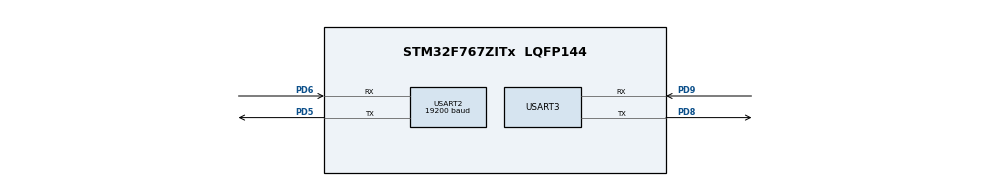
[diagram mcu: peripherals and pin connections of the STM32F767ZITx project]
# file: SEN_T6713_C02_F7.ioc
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Mcu.Family=STM32F7
Mcu.Name=STM32F767ZITx
Mcu.Package=LQFP144
NVIC.PriorityGroup=NVIC_PRIORITYGROUP_4
NVIC.USART2_IRQn=true\:0\:0\:false\:false\:true\:true\:true\:true
PA13.Mode=Serial_Wire
PA13.Signal=SYS_JTMS-SWDIO
PA14.Mode=Serial_Wire
PA14.Signal=SYS_JTCK-SWCLK
PD5.Mode=Asynchronous
PD5.Signal=USART2_TX
PD6.Mode=Asynchronous
PD6.Signal=USART2_RX
PD8.Mode=Asynchronous
PD8.Signal=USART3_TX
PD9.Mode=Asynchronous
PD9.Signal=USART3_RX
ProjectManager.HeapSize=0x200
ProjectManager.StackSize=0x400
ProjectManager.TargetToolchain=STM32CubeIDE
RCC.HSE_VALUE=25000000
RCC.HSI_VALUE=16000000
RCC.LSE_VALUE=32768
RCC.USBFreq_Value=96000000
RCC.VCOOutputFreq_Value=192000000
USART2.BaudRate=19200
USART2.Parity=PARITY_EVEN
USART2.VirtualMode-Asynchronous=VM_ASYNC
USART2.WordLength=WORDLENGTH_9B
USART3.VirtualMode-Asynchronous=VM_ASYNC
board=custom

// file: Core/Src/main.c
/* USER CODE BEGIN Header */
/**
  ******************************************************************************
  * @file           : main.c
  * @brief          : Main program body
  ******************************************************************************
  * @attention
  *
  * Copyright (c) 2023 STMicroelectronics.
  * All rights reserved.
  *
  * This software is licensed under terms that can be found in the LICENSE file
  * in the root directory of this software component.
  * If no LICENSE file comes with this software, it is provided AS-IS.
  *
  ******************************************************************************
  */
/* USER CODE END Header */
#include "main.h"

/* USER CODE BEGIN Includes */
#include <stdio.h>
#include <string.h>
/* USER CODE END Includes */

UART_HandleTypeDef huart2;
UART_HandleTypeDef huart3;

void SystemClock_Config(void);
static void MPU_Config(void);
static void MX_GPIO_Init(void);
static void MX_USART2_UART_Init(void);
static void MX_USART3_UART_Init(void);

/* USER CODE BEGIN 0 */
static const uint8_t cmd[8] = {
		  0x15,	// slave address
		  0x04,	// read input register function
		  0x13,	// register address 5003 (MSB)
		  0x8B,	// register address 5003 (LSB)
		  0x00, // number of registers (MSB)
		  0x01,	// number of registers (LSB)
		  0x46,	// CRC (LSB)
		  0x70	// CRC (MSB)
};

static uint16_t cmd_length =
  		  (uint16_t)(sizeof(cmd)/sizeof(uint8_t));

uint8_t rcv_buff[8];
uint8_t snd_buff[11];
uint16_t co2 = -1;
/* USER CODE END 0 */

int main(void)
{

  /* MPU Configuration--------------------------------------------------------*/
  MPU_Config();

  /* MCU Configuration--------------------------------------------------------*/

  /* Reset of all peripherals, Initializes the Flash interface and the Systick. */
  HAL_Init();

  /* Configure the system clock */
  SystemClock_Config();

  /* Initialize all configured peripherals */
  MX_GPIO_Init();
  MX_USART2_UART_Init();
  MX_USART3_UART_Init();
  /* USER CODE BEGIN 2 */
  HAL_UART_Receive_IT(&huart2, rcv_buff, 8);
  /* USER CODE END 2 */

  /* Infinite loop */
  /* USER CODE BEGIN WHILE */
  while (1)
  {
	  HAL_UART_Transmit(&huart2, cmd, cmd_length, 1000);
	  HAL_Delay(50);
    /* USER CODE END WHILE */

  }
}

void SystemClock_Config(void)
{
  RCC_OscInitTypeDef RCC_OscInitStruct = {0};
  RCC_ClkInitTypeDef RCC_ClkInitStruct = {0};

  /** Configure the main internal regulator output voltage
  */
  __HAL_RCC_PWR_CLK_ENABLE();
  __HAL_PWR_VOLTAGESCALING_CONFIG(PWR_REGULATOR_VOLTAGE_SCALE3);

  /** Initializes the RCC Oscillators according to the specified parameters
  * in the RCC_OscInitTypeDef structure.
  */
  RCC_OscInitStruct.OscillatorType = RCC_OSCILLATORTYPE_HSI;
  RCC_OscInitStruct.HSIState = RCC_HSI_ON;
  RCC_OscInitStruct.HSICalibrationValue = RCC_HSICALIBRATION_DEFAULT;
  RCC_OscInitStruct.PLL.PLLState = RCC_PLL_NONE;
  if (HAL_RCC_OscConfig(&RCC_OscInitStruct) != HAL_OK)
  {
    Error_Handler();
  }

  /** Initializes the CPU, AHB and APB buses clocks
  */
  RCC_ClkInitStruct.ClockType = RCC_CLOCKTYPE_HCLK|RCC_CLOCKTYPE_SYSCLK
                              |RCC_CLOCKTYPE_PCLK1|RCC_CLOCKTYPE_PCLK2;
  RCC_ClkInitStruct.SYSCLKSource = RCC_SYSCLKSOURCE_HSI;
  RCC_ClkInitStruct.AHBCLKDivider = RCC_SYSCLK_DIV1;
  RCC_ClkInitStruct.APB1CLKDivider = RCC_HCLK_DIV1;
  RCC_ClkInitStruct.APB2CLKDivider = RCC_HCLK_DIV1;

  if (HAL_RCC_ClockConfig(&RCC_ClkInitStruct, FLASH_LATENCY_0) != HAL_OK)
  {
    Error_Handler();
  }
}

static void MX_USART2_UART_Init(void)
{

  huart2.Instance = USART2;
  huart2.Init.BaudRate = 19200;
  huart2.Init.WordLength = UART_WORDLENGTH_9B;
  huart2.Init.StopBits = UART_STOPBITS_1;
  huart2.Init.Parity = UART_PARITY_EVEN;
  huart2.Init.Mode = UART_MODE_TX_RX;
  huart2.Init.HwFlowCtl = UART_HWCONTROL_NONE;
  huart2.Init.OverSampling = UART_OVERSAMPLING_16;
  huart2.Init.OneBitSampling = UART_ONE_BIT_SAMPLE_DISABLE;
  huart2.AdvancedInit.AdvFeatureInit = UART_ADVFEATURE_NO_INIT;
  if (HAL_UART_Init(&huart2) != HAL_OK)
  {
    Error_Handler();
  }
  /* USER CODE BEGIN USART2_Init 2 */
  HAL_NVIC_SetPriority(USART2_IRQn, 0, 0);
  HAL_NVIC_EnableIRQ(USART2_IRQn);
  /* USER CODE END USART2_Init 2 */

}

static void MX_USART3_UART_Init(void)
{

  huart3.Instance = USART3;
  huart3.Init.BaudRate = 115200;
  huart3.Init.WordLength = UART_WORDLENGTH_8B;
  huart3.Init.StopBits = UART_STOPBITS_1;
  huart3.Init.Parity = UART_PARITY_NONE;
  huart3.Init.Mode = UART_MODE_TX_RX;
  huart3.Init.HwFlowCtl = UART_HWCONTROL_NONE;
  huart3.Init.OverSampling = UART_OVERSAMPLING_16;
  huart3.Init.OneBitSampling = UART_ONE_BIT_SAMPLE_DISABLE;
  huart3.AdvancedInit.AdvFeatureInit = UART_ADVFEATURE_NO_INIT;
  if (HAL_UART_Init(&huart3) != HAL_OK)
  {
    Error_Handler();
  }

}

static void MX_GPIO_Init(void)
{

  /* GPIO Ports Clock Enable */
  __HAL_RCC_GPIOD_CLK_ENABLE();
  __HAL_RCC_GPIOA_CLK_ENABLE();

}

/* USER CODE BEGIN 4 */
void HAL_UART_RxCpltCallback(UART_HandleTypeDef *huart)
{
	if (huart->Instance == USART2) {
		HAL_UART_Receive_IT(&huart2, rcv_buff, 8);
		if( rcv_buff[0] == 0x15 && rcv_buff[1] == 0x04 && rcv_buff[2] == 0x02) {
			uint16_t new_co2 = (uint16_t)(rcv_buff[3] << 8 | rcv_buff[4]);
			if( new_co2 != co2 ) {
				co2 = new_co2;
				sprintf(snd_buff, "CO2: %d\r\n", co2);
				HAL_UART_Transmit(&huart3, snd_buff, strlen(snd_buff), 10);
			}
		}
	}
}
/* USER CODE END 4 */

/* MPU Configuration */

void MPU_Config(void)
{
  MPU_Region_InitTypeDef MPU_InitStruct = {0};

  /* Disables the MPU */
  HAL_MPU_Disable();

  /** Initializes and configures the Region and the memory to be protected
  */
  MPU_InitStruct.Enable = MPU_REGION_ENABLE;
  MPU_InitStruct.Number = MPU_REGION_NUMBER0;
  MPU_InitStruct.BaseAddress = 0x0;
  MPU_InitStruct.Size = MPU_REGION_SIZE_4GB;
  MPU_InitStruct.SubRegionDisable = 0x87;
  MPU_InitStruct.TypeExtField = MPU_TEX_LEVEL0;
  MPU_InitStruct.AccessPermission = MPU_REGION_NO_ACCESS;
  MPU_InitStruct.DisableExec = MPU_INSTRUCTION_ACCESS_DISABLE;
  MPU_InitStruct.IsShareable = MPU_ACCESS_SHAREABLE;
  MPU_InitStruct.IsCacheable = MPU_ACCESS_NOT_CACHEABLE;
  MPU_InitStruct.IsBufferable = MPU_ACCESS_NOT_BUFFERABLE;

  HAL_MPU_ConfigRegion(&MPU_InitStruct);
  /* Enables the MPU */
  HAL_MPU_Enable(MPU_PRIVILEGED_DEFAULT);

}

void Error_Handler(void)
{
  __disable_irq();
  while (1)
  {
  }
}
